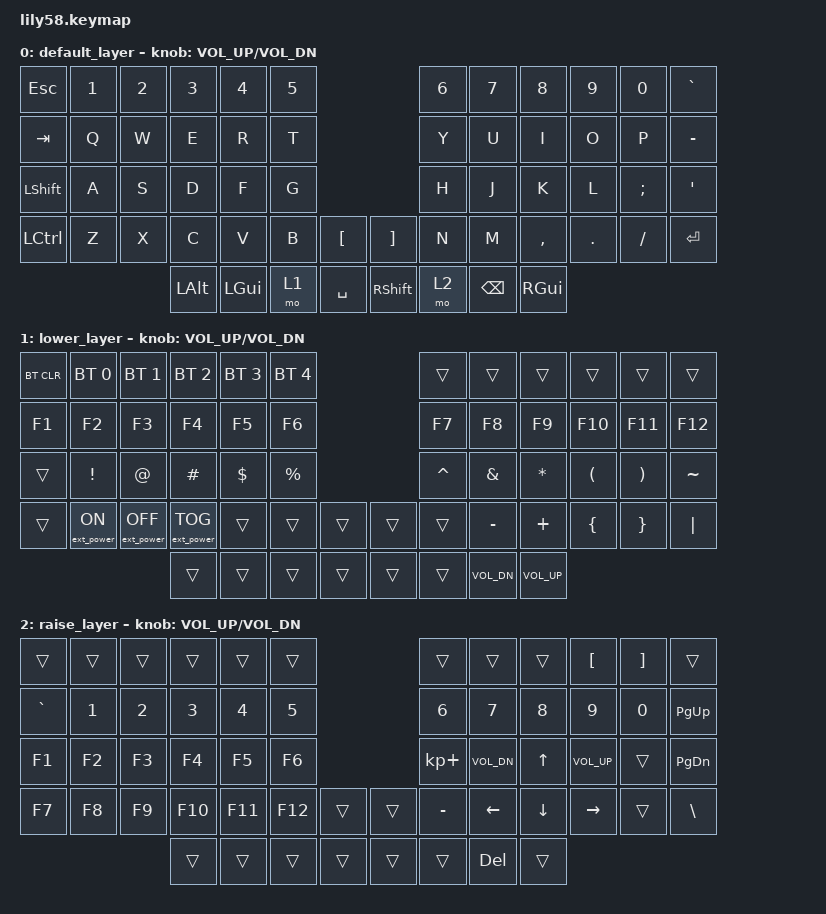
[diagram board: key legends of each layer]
/*
 * Copyright (c) 2020 The ZMK Contributors
 *
 * SPDX-License-Identifier: MIT
 */

#include <behaviors.dtsi>
#include <dt-bindings/zmk/bt.h>
#include <dt-bindings/zmk/ext_power.h>
#include <dt-bindings/zmk/keys.h>

/ {
    keymap {
        compatible = "zmk,keymap";

        default_layer {
            // ------------------------------------------------------------------------------------------------------------
            // |  ESC  |  1  |  2  |  3   |  4   |  5   |                   |  6   |  7    |  8    |  9   |   0   |   `   |
            // |  TAB  |  Q  |  W  |  E   |  R   |  T   |                   |  Y   |  U    |  I    |  O   |   P   |   -   |
            // |  CTRL |  A  |  S  |  D   |  F   |  G   |                   |  H   |  J    |  K    |  L   |   ;   |   '   |
            // | SHIFT |  Z  |  X  |  C   |  V   |  B   |   "["  |  |  "]"  |  N   |  M    |  ,    |  .   |   /   | SHIFT |
            //                     | ALT  | GUI  | LOWER|  SPACE |  | ENTER | RAISE| BSPC  | GUI   |

            bindings = <
&kp ESC     &kp N1  &kp N2  &kp N3    &kp N4    &kp N5                                &kp N6  &kp N7         &kp N8     &kp N9   &kp N0    &kp GRAVE
&kp TAB     &kp Q   &kp W   &kp E     &kp R     &kp T                                 &kp Y   &kp U          &kp I      &kp O    &kp P     &kp MINUS
&kp LSHIFT  &kp A   &kp S   &kp D     &kp F     &kp G                                 &kp H   &kp J          &kp K      &kp L    &kp SEMI  &kp SQT
&kp LCTRL   &kp Z   &kp X   &kp C     &kp V     &kp B   &kp LBKT     &kp RBKT         &kp N   &kp M          &kp COMMA  &kp DOT  &kp FSLH  &kp ENTER
                            &kp LALT  &kp LGUI  &mo 1   &kp SPACE    &kp RIGHT_SHIFT  &mo 2   &kp BACKSPACE  &kp RGUI
            >;

            sensor-bindings = <&inc_dec_kp C_VOL_UP C_VOL_DN>;
        };

        lower_layer {
            // ------------------------------------------------------------------------------------------------------------
            // | BTCLR | BT1 | BT2 |  BT3 |  BT4 |  BT5 |                   |      |       |       |      |       |       |
            // |  F1   |  F2 |  F3 |  F4  |  F5  |  F6  |                   |  F7  |  F8   |  F9   |  F10 |  F11  |  F12  |
            // |   `   |  !  |  @  |  #   |  $   |  %   |                   |  ^   |  &    |  *    |  (   |   )   |   ~   |
            // |       |     |     |      |      |      |        |  |       |      |  _    |  +    |  {   |   }   |  "|"  |
            //                     |      |      |      |        |  |       |      |       |       |

            bindings = <
&bt BT_CLR  &bt BT_SEL 0      &bt BT_SEL 1       &bt BT_SEL 2       &bt BT_SEL 3  &bt BT_SEL 4                    &trans     &trans        &trans        &trans    &trans    &trans
&kp F1      &kp F2            &kp F3             &kp F4             &kp F5        &kp F6                          &kp F7     &kp F8        &kp F9        &kp F10   &kp F11   &kp F12
&trans      &kp EXCL          &kp AT             &kp HASH           &kp DOLLAR    &kp PRCNT                       &kp CARET  &kp AMPS      &kp ASTRK     &kp LPAR  &kp RPAR  &kp TILDE
&trans      &ext_power EP_ON  &ext_power EP_OFF  &ext_power EP_TOG  &trans        &trans        &trans    &trans  &trans     &kp MINUS     &kp PLUS      &kp LBRC  &kp RBRC  &kp PIPE
                                                 &trans             &trans        &trans        &trans    &trans  &trans     &kp C_VOL_DN  &kp C_VOL_UP
            >;

            sensor-bindings = <&inc_dec_kp C_VOL_UP C_VOL_DN>;
        };

        raise_layer {
            // ------------------------------------------------------------------------------------------------------------
            // |       |     |     |      |      |      |                   |      |       |       |      |       |       |
            // |   `   |  1  |  2  |  3   |  4   |  5   |                   |  6   |   7   |   8   |  9   |   0   |       |
            // |   F1  |  F2 |  F3 |  F4  |  F5  |  F6  |                   |      |   <-  |   v   |  ^   |  ->   |       |
            // |   F7  |  F8 |  F9 |  F10 |  F11 |  F12 |        |  |       |  +   |   -   |   =   |  [   |   ]   |   \   |
            //                     |      |      |      |        |  |       |      |       |       |

            bindings = <
&trans     &trans  &trans  &trans   &trans   &trans                     &trans       &trans        &trans    &kp LEFT_BRACKET  &kp RIGHT_BRACKET  &trans
&kp GRAVE  &kp N1  &kp N2  &kp N3   &kp N4   &kp N5                     &kp N6       &kp N7        &kp N8    &kp N9            &kp N0             &kp PG_UP
&kp F1     &kp F2  &kp F3  &kp F4   &kp F5   &kp F6                     &kp KP_PLUS  &kp C_VOL_DN  &kp UP    &kp C_VOLUME_UP   &trans             &kp PG_DN
&kp F7     &kp F8  &kp F9  &kp F10  &kp F11  &kp F12  &trans    &trans  &kp MINUS    &kp LEFT      &kp DOWN  &kp RIGHT         &trans             &kp BSLH
                           &trans   &trans   &trans   &trans    &trans  &trans       &kp DELETE    &trans
            >;

            sensor-bindings = <&inc_dec_kp C_VOL_UP C_VOL_DN>;
        };
    };
};
